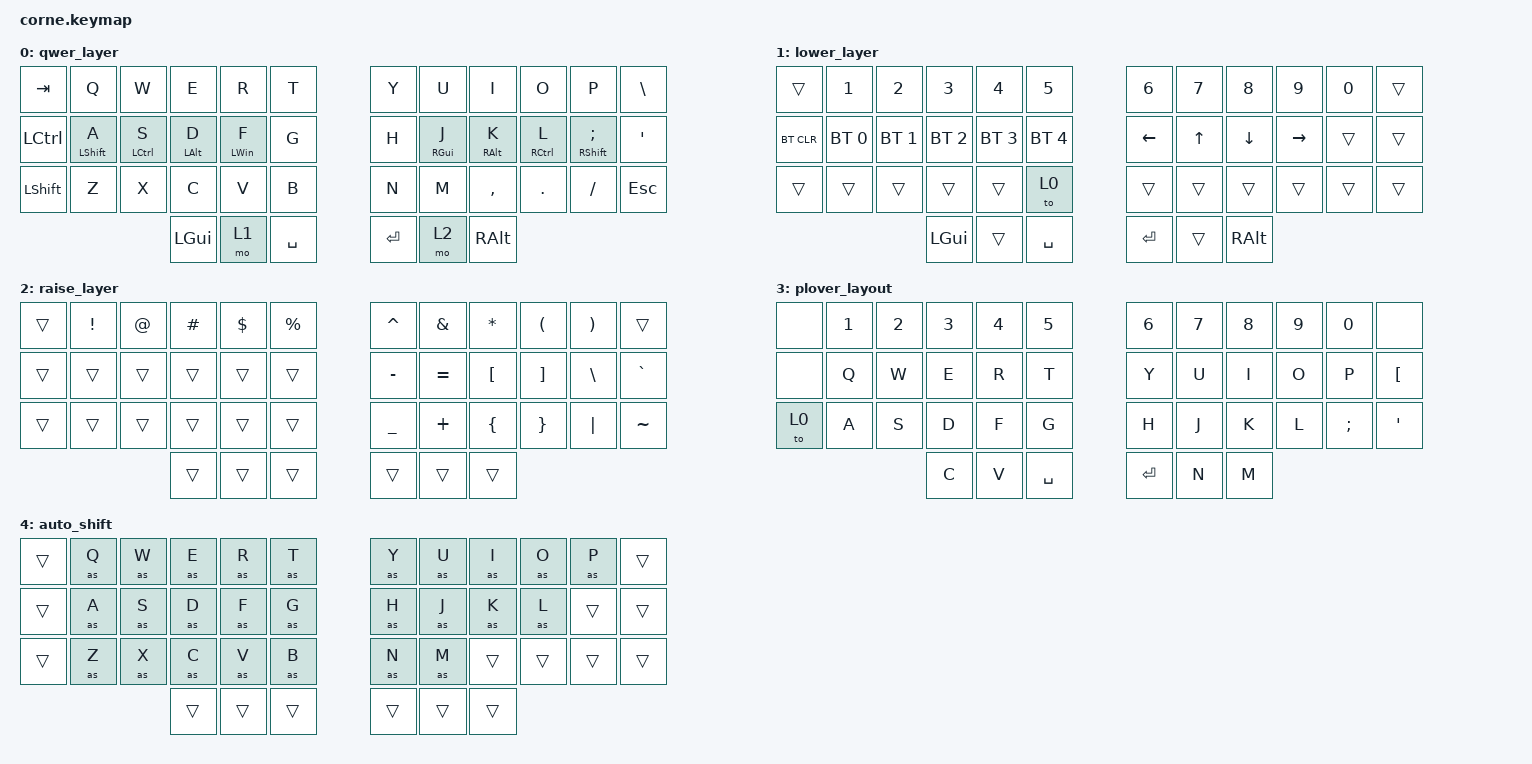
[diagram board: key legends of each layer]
/*
 * Copyright (c) 2020 The ZMK Contributors
 *
 * SPDX-License-Identifier: MIT
 */

#include <behaviors.dtsi>
#include <dt-bindings/zmk/bt.h>
#include <dt-bindings/zmk/keys.h>

/ {
    combos {
        compatible = "zmk,combos";

        tab {
            bindings = <&kp TAB>;
            key-positions = <2 3>;
        };

        ctrl {
            bindings = <&kp LCTRL>;
            key-positions = <26 27>;
        };

        cmd {
            bindings = <&kp LEFT_WIN>;
            key-positions = <37 38>;
        };

        alt {
            bindings = <&kp LALT>;
            key-positions = <39 40>;
        };

        shift {
            bindings = <&kp LEFT_SHIFT>;
            key-positions = <7 8>;
        };

        caps_word {
            bindings = <&caps_word>;
            key-positions = <17 18>;
        };

        delete {
            bindings = <&kp DEL>;
            key-positions = <32 33>;
        };
    };

    macros {
        shift: shift {
            compatible = "zmk,behavior-macro-one-param";
            #binding-cells = <1>;
            bindings =
                <&macro_press>,
                <&kp LEFT_SHIFT>,
                <&macro_tap>,
                <&macro_param_1to1 &kp MACRO_PLACEHOLDER>,
                <&macro_press>,
                <&kp LEFT_SHIFT>;

            label = "SHIFT";
        };

        as: as {
            compatible = "zmk,behavior-macro-one-param";
            #binding-cells = <1>;
            bindings =
                <&macro_press>,
                <&macro_param_1to1 &macro_param_1to2 &as_ht MACRO_PLACEHOLDER MACRO_PLACEHOLDER>,
                <&macro_pause_for_release>,
                <&macro_release>,
                <&macro_param_1to1 &macro_param_1to2 &as_ht MACRO_PLACEHOLDER MACRO_PLACEHOLDER>;

            label = "AS";
        };
    };

    behaviors {
        as_ht: autoshift_hold_tap {
            compatible = "zmk,behavior-hold-tap";
            label = "AUTOSHIFT_HOLD_TAP";
            #binding-cells = <2>;
            tapping-term-ms = <190>;
            bindings = <&shift>, <&kp>;
        };

        hml: homewrow_mods_left {
            compatible = "zmk,behavior-hold-tap";
            label = "HOMEROW_MODS_LEFT_HAND";
            bindings = <&kp>, <&kp>;

            #binding-cells = <2>;
            tapping-term-ms = <200>;
            hold-trigger-key-positions = <6 7 9 8 11 23 35 34 21 22 10 33 20 32 31 19 18 30 40 41 39>;
        };

        hmr: homewrow_mods_right {
            compatible = "zmk,behavior-hold-tap";
            label = "HOMEROW_MODS_RIGHT_HAND";
            bindings = <&kp>, <&kp>;

            #binding-cells = <2>;
            tapping-term-ms = <200>;
            hold-trigger-key-positions = <0 1 2 3 4 5 12 13 14 15 16 17 24 25 26 27 28 29 36 37 38>;
        };
    };

    keymap {
        compatible = "zmk,keymap";

        qwer_layer {
            bindings = <
&kp TAB    &kp Q         &kp W         &kp E        &kp R            &kp T        &kp Y    &kp U             &kp I        &kp O         &kp P            &kp BSLH
&kp LCTRL  &hml LSHFT A  &hml LCTRL S  &hml LALT D  &hml LEFT_WIN F  &kp G        &kp H    &hmr RIGHT_GUI J  &hmr RALT K  &hmr RCTRL L  &hmr RSHFT SEMI  &kp SQT
&kp LSHFT  &kp Z         &kp X         &kp C        &kp V            &kp B        &kp N    &kp M             &kp COMMA    &kp DOT       &kp FSLH         &kp ESC
                                       &kp LGUI     &mo 1            &kp SPACE    &kp RET  &mo 2             &kp RALT
            >;
        };

        lower_layer {
            // -----------------------------------------------------------------------------------------
            // |  TAB |  1  |  2  |  3  |  4  |  5  |   |  6  |  7  |  8  |  9  |  0  | BSPC |
            // | BTCLR| BT1 | BT2 | BT3 | BT4 | BT5 |   | LFT | DWN |  UP | RGT |     |      |
            // | SHFT |     |     |     |     |     |   |     |     |     |     |     |      |
            //                    | GUI |     | SPC |   | ENT |     | ALT |

            bindings = <
&trans      &kp N1        &kp N2        &kp N3        &kp N4        &kp N5          &kp N6    &kp N7  &kp N8    &kp N9     &kp N0  &trans
&bt BT_CLR  &bt BT_SEL 0  &bt BT_SEL 1  &bt BT_SEL 2  &bt BT_SEL 3  &bt BT_SEL 4    &kp LEFT  &kp UP  &kp DOWN  &kp RIGHT  &trans  &trans
&trans      &trans        &trans        &trans        &trans        &to 0           &trans    &trans  &trans    &trans     &trans  &trans
                                        &kp LGUI      &trans        &kp SPACE       &kp RET   &trans  &kp RALT
            >;
        };

        raise_layer {
            // -----------------------------------------------------------------------------------------
            // |  TAB |  !  |  @  |  #  |  $  |  %  |   |  ^  |  &  |  *  |  (  |  )  | BSPC |
            // | CTRL |     |     |     |     |     |   |  -  |  =  |  [  |  ]  |  \  |  `   |
            // | SHFT |     |     |     |     |     |   |  _  |  +  |  {  |  }  | "|" |  ~   |
            //                    | GUI |     | SPC |   | ENT |     | ALT |

            bindings = <
&trans  &kp EXCL  &kp AT  &kp HASH  &kp DLLR  &kp PRCNT    &kp CARET  &kp AMPS   &kp ASTRK  &kp LPAR  &kp RPAR  &trans
&trans  &trans    &trans  &trans    &trans    &trans       &kp MINUS  &kp EQUAL  &kp LBKT   &kp RBKT  &kp BSLH  &kp GRAVE
&trans  &trans    &trans  &trans    &trans    &trans       &kp UNDER  &kp PLUS   &kp LBRC   &kp RBRC  &kp PIPE  &kp TILDE
                          &trans    &trans    &trans       &trans     &trans     &trans
            >;
        };

        plover_layout {
            bindings = <
&none  &kp N1  &kp N2  &kp N3  &kp N4  &kp N5       &kp N6     &kp N7  &kp N8  &kp N9  &kp N0    &none
&none  &kp Q   &kp W   &kp E   &kp R   &kp T        &kp Y      &kp U   &kp I   &kp O   &kp P     &kp LBKT
&to 0  &kp A   &kp S   &kp D   &kp F   &kp G        &kp H      &kp J   &kp K   &kp L   &kp SEMI  &kp APOS
                       &kp C   &kp V   &kp SPACE    &kp ENTER  &kp N   &kp M
            >;
        };

        auto_shift {
            bindings = <
&trans  &as Q  &as W  &as E   &as R   &as T     &as Y   &as U   &as I   &as O   &as P   &trans
&trans  &as A  &as S  &as D   &as F   &as G     &as H   &as J   &as K   &as L   &trans  &trans
&trans  &as Z  &as X  &as C   &as V   &as B     &as N   &as M   &trans  &trans  &trans  &trans
                      &trans  &trans  &trans    &trans  &trans  &trans
            >;
        };
    };

    conditional_layers {
        compatible = "zmk,conditional-layers";

        tri_player {
            if-layers = <2 1>;
            then-layer = <3>;
        };
    };
};
